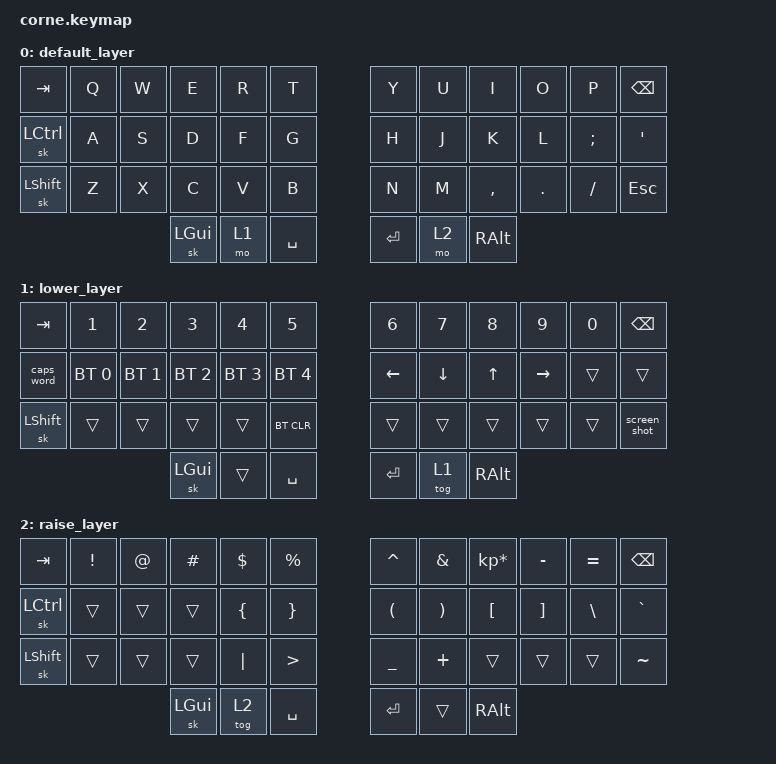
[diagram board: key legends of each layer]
/*
 * Copyright (c) 2020 The ZMK Contributors
 *
 * SPDX-License-Identifier: MIT
 */

#include <behaviors.dtsi>
#include <dt-bindings/zmk/keys.h>
#include <dt-bindings/zmk/bt.h>

/ {
    macros {
        screen_shot: screen_shot {
            compatible = "zmk,behavior-macro";
            label = "new_macro";
            #binding-cells = <0>;
            bindings = <&kp RCMD &kp RCTRL &kp LEFT_SHIFT &kp N4>;
        };
    };

    keymap {
        compatible = "zmk,keymap";

        default_layer {
            // -----------------------------------------------------------------------------------------
            // |  TAB |  Q  |  W  |  E  |  R  |  T  |   |  Y  |  U   |  I  |  O  |  P  | BKSP |
            // | CTRL |  A  |  S  |  D  |  F  |  G  |   |  H  |  J   |  K  |  L  |  ;  |  '   |
            // | SHFT |  Z  |  X  |  C  |  V  |  B  |   |  N  |  M   |  ,  |  .  |  /  | ESC  |
            //                    | GUI | LWR | SPC |   | ENT | RSE  | ALT |

            bindings = <
  &kp TAB  &kp Q  &kp W     &kp E  &kp R      &kp T      &kp Y  &kp U      &kp I    &kp O     &kp P  &kp BSPC
&sk LCTRL  &kp A  &kp S     &kp D  &kp F      &kp G      &kp H  &kp J      &kp K    &kp L  &kp SEMI   &kp SQT
&sk LSHFT  &kp Z  &kp X     &kp C  &kp V      &kp B      &kp N  &kp M  &kp COMMA  &kp DOT  &kp FSLH   &kp ESC
                         &sk LGUI  &mo 1  &kp SPACE    &kp RET  &mo 2   &kp RALT
            >;
        };

        lower_layer {
            // -----------------------------------------------------------------------------------------
            // |  TAB |  1  |  2  |  3  |  4  |  5  |   |  6  |  7  |  8  |  9  |  0  | BKSP |
            // | BTCLR| BT1 | BT2 | BT3 | BT4 | BT5 |   | LFT | DWN |  UP | RGT |     |      |
            // | SHFT |     |     |     |     |     |   |     |     |     |     |     |      |
            //                    | GUI |     | SPC |   | ENT |     | ALT |

            bindings = <
   &kp TAB        &kp N1        &kp N2        &kp N3        &kp N4        &kp N5      &kp N6    &kp N7    &kp N8     &kp N9  &kp N0      &kp BSPC
&caps_word  &bt BT_SEL 0  &bt BT_SEL 1  &bt BT_SEL 2  &bt BT_SEL 3  &bt BT_SEL 4    &kp LEFT  &kp DOWN    &kp UP  &kp RIGHT  &trans        &trans
 &sk LSHFT        &trans        &trans        &trans        &trans    &bt BT_CLR      &trans    &trans    &trans     &trans  &trans  &screen_shot
                                            &sk LGUI        &trans     &kp SPACE     &kp RET    &tog 1  &kp RALT
            >;
        };

        raise_layer {
            // -----------------------------------------------------------------------------------------
            // |  TAB |  !  |  @  |  #  |  $  |  %  |   |  ^  |  &  |  *  |  (  |  )  | BKSP |
            // | CTRL |     |     |     |     |     |   |  -  |  =  |  [  |  ]  |  \  |  `   |
            // | SHFT |     |     |     |     |     |   |  _  |  +  |  {  |  }  | "|" |  ~   |
            //                    | GUI |     | SPC |   | ENT |     | ALT |

            bindings = <
  &kp TAB  &kp EXCL  &kp AT  &kp HASH        &kp DLLR         &kp PRCNT               &kp CARET               &kp AMPS  &kp KP_MULTIPLY  &kp MINUS  &kp EQUAL   &kp BSPC
&sk LCTRL    &trans  &trans    &trans  &kp LEFT_BRACE   &kp RIGHT_BRACE    &kp LEFT_PARENTHESIS  &kp RIGHT_PARENTHESIS         &kp LBKT   &kp RBKT   &kp BSLH  &kp GRAVE
&sk LSHFT    &trans  &trans    &trans        &kp PIPE  &kp GREATER_THAN               &kp UNDER               &kp PLUS           &trans     &trans     &trans  &kp TILDE
                             &sk LGUI          &tog 2         &kp SPACE                 &kp RET                 &trans         &kp RALT
            >;
        };
    };
};
